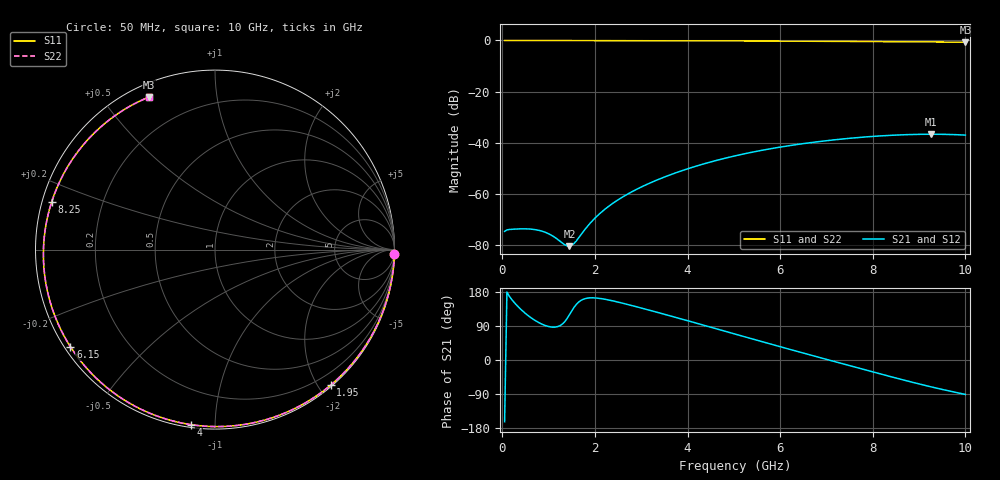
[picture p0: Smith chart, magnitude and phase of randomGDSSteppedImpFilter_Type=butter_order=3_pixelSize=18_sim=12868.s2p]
! freq	dB(S11)	phase(S11)	dB(S12)	phase(S12)
!  dB(S21)	phase(S21)	dB(S22)	phase(S22)
!S-par simulation data
#  GHz  S  DB  R 50
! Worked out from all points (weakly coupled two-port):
!   200 points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, 50 MHz to 10 GHz, reference 50 ohm
!   highest |S21| = -36.72 dB at 9.25 GHz (marker M1); lowest = -80.6 dB at 1.45 GHz (marker M2)
!   lowest |S11| = -0.7 dB at 10 GHz (marker M3), VSWR 26.06, Z = 2.74 + j32.8 ohm
!   |S11| at or under -10 dB: nowhere
!   |S22| runs from -0.7 to 0.0 dB; largest |S21 - S12| = 0
!   S11 on the Smith chart (normalised r, x): 50 MHz: 0, -88; 1.95 GHz: 0.02, -2.17; 4 GHz: 0.01, -0.87; 6.15 GHz: 0.02, -0.30; 8.25 GHz: 0.03, +0.14; 10 GHz: 0.05, +0.66
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0.05  -0.00 -1.3  -74.77 -162.8  -74.77 -162.8  -0.00 -1.3
0.1  -0.00 -2.6  -74.18 179.2  -74.18 179.2  -0.00 -2.6
0.35  -0.01 -9.1  -73.81 139.6  -73.81 139.6  -0.01 -9.1
0.75  -0.02 -19.4  -74.21 101.2  -74.21 101.2  -0.03 -19.4
1.05  -0.03 -27.0  -76.17 87.2  -76.17 87.2  -0.04 -27.0
1.35  -0.04 -34.6  -80.02 101.3  -80.02 101.3  -0.04 -34.6
1.45  -0.05 -37.1  -80.56 119.4  -80.56 119.4  -0.05 -37.1
1.55  -0.05 -39.6  -79.49 139.1  -79.49 139.1  -0.05 -39.6
1.75  -0.06 -44.6  -74.83 160.4  -74.83 160.4  -0.06 -44.6
1.95  -0.06 -49.5  -70.52 164.1  -70.52 164.1  -0.06 -49.5
2.2  -0.07 -55.6  -66.32 160.7  -66.32 160.7  -0.07 -55.6
2.55  -0.08 -64.1  -61.84 151.3  -61.84 151.3  -0.08 -64.1
3.4  -0.11 -84.2  -54.21 124.0  -54.21 124.0  -0.11 -84.2
4  -0.14 -97.9  -50.28 103.8  -50.28 103.8  -0.14 -97.9
5.05  -0.19 -121.5  -45.09 67.6  -45.09 67.6  -0.19 -121.5
6.15  -0.26 -146.1  -41.33 30.0  -41.33 30.0  -0.26 -146.1
6.7  -0.31 -158.6  -39.92 11.6  -39.92 11.6  -0.31 -158.6
7.5  -0.38 -177.5  -38.31 -14.9  -38.31 -14.9  -0.38 -177.5
8.25  -0.46 163.7  -37.29 -39.5  -37.29 -39.5  -0.46 163.7
8.35  -0.47 161.1  -37.19 -42.7  -37.19 -42.7  -0.47 161.1
9.25  -0.58 136.2  -36.72 -70.6  -36.72 -70.6  -0.58 136.2
10  -0.67 113.4  -37.06 -90.9  -37.06 -90.9  -0.67 113.5
